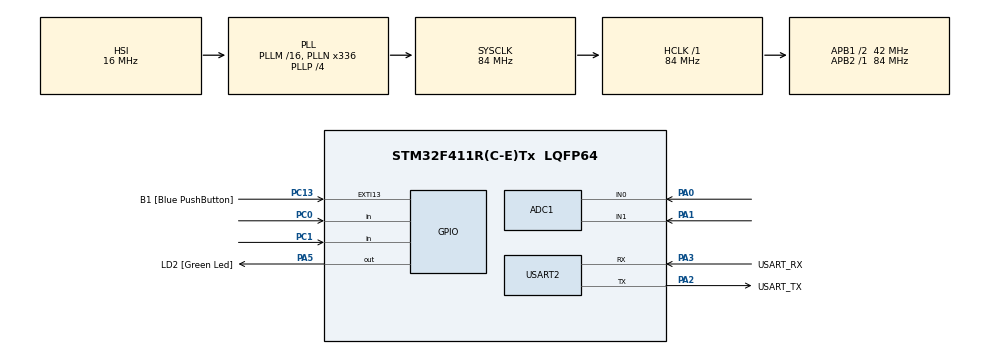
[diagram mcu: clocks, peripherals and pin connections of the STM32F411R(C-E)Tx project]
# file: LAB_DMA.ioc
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ADC1.Channel-1\#ChannelRegularConversion=ADC_CHANNEL_0
ADC1.Channel-2\#ChannelRegularConversion=ADC_CHANNEL_1
ADC1.ContinuousConvMode=ENABLE
ADC1.DMAContinuousRequests=ENABLE
ADC1.EOCSelection=ADC_EOC_SEQ_CONV
ADC1.NbrOfConversion=2
ADC1.NbrOfConversionFlag=1
ADC1.Rank-1\#ChannelRegularConversion=1
ADC1.Rank-2\#ChannelRegularConversion=2
ADC1.SamplingTime-1\#ChannelRegularConversion=ADC_SAMPLETIME_480CYCLES
ADC1.SamplingTime-2\#ChannelRegularConversion=ADC_SAMPLETIME_480CYCLES
ADC1.master=1
Dma.ADC1.0.Direction=DMA_PERIPH_TO_MEMORY
Dma.ADC1.0.FIFOMode=DMA_FIFOMODE_DISABLE
Dma.ADC1.0.Instance=DMA2_Stream0
Dma.ADC1.0.MemDataAlignment=DMA_MDATAALIGN_WORD
Dma.ADC1.0.MemInc=DMA_MINC_ENABLE
Dma.ADC1.0.Mode=DMA_CIRCULAR
Dma.ADC1.0.PeriphDataAlignment=DMA_PDATAALIGN_WORD
Dma.ADC1.0.PeriphInc=DMA_PINC_DISABLE
Dma.ADC1.0.Priority=DMA_PRIORITY_LOW
Dma.Request0=ADC1
Mcu.Family=STM32F4
Mcu.Name=STM32F411R(C-E)Tx
Mcu.Package=LQFP64
NVIC.ADC_IRQn=true\:0\:0\:false\:false\:true\:true\:true
NVIC.DMA2_Stream0_IRQn=true\:0\:0\:false\:false\:true\:false\:true
NVIC.EXTI15_10_IRQn=true\:0\:0\:false\:false\:true\:true\:true
NVIC.PriorityGroup=NVIC_PRIORITYGROUP_0
PA0-WKUP.Signal=ADCx_IN0
PA1.Signal=ADCx_IN1
PA13.GPIO_Label=TMS
PA13.Mode=Serial_Wire
PA13.Signal=SYS_JTMS-SWDIO
PA14.GPIO_Label=TCK
PA14.Mode=Serial_Wire
PA14.Signal=SYS_JTCK-SWCLK
PA2.GPIO_Label=USART_TX
PA2.Mode=Asynchronous
PA2.Signal=USART2_TX
PA3.GPIO_Label=USART_RX
PA3.Mode=Asynchronous
PA3.Signal=USART2_RX
PA5.GPIO_Label=LD2 [Green Led]
PA5.Signal=GPIO_Output
PB3.GPIO_Label=SWO
PB3.Signal=SYS_JTDO-SWO
PC0.Signal=GPIO_Input
PC1.Signal=GPIO_Input
PC13-ANTI_TAMP.GPIO_Label=B1 [Blue PushButton]
PC13-ANTI_TAMP.GPIO_ModeDefaultEXTI=GPIO_MODE_IT_RISING_FALLING
PC13-ANTI_TAMP.GPIO_PuPd=GPIO_PULLUP
PC13-ANTI_TAMP.Signal=GPXTI13
PC14-OSC32_IN.Mode=LSE-External-Oscillator
PC14-OSC32_IN.Signal=RCC_OSC32_IN
PC15-OSC32_OUT.Mode=LSE-External-Oscillator
PC15-OSC32_OUT.Signal=RCC_OSC32_OUT
PH0\ -\ OSC_IN.Mode=HSE-External-Clock-Source
PH0\ -\ OSC_IN.Signal=RCC_OSC_IN
PH1\ -\ OSC_OUT.Mode=HSE-External-Clock-Source
PH1\ -\ OSC_OUT.Signal=RCC_OSC_OUT
ProjectManager.HeapSize=0x200
ProjectManager.StackSize=0x400
ProjectManager.TargetToolchain=STM32CubeIDE
RCC.48MHZClocksFreq_Value=84000000
RCC.AHBFreq_Value=84000000
RCC.APB1CLKDivider=RCC_HCLK_DIV2
RCC.APB1Freq_Value=42000000
RCC.APB1TimFreq_Value=84000000
RCC.APB2Freq_Value=84000000
RCC.APB2TimFreq_Value=84000000
RCC.CortexFreq_Value=84000000
RCC.FLatency-AdvancedSettings=FLASH_LATENCY_2
RCC.HCLKFreq_Value=84000000
RCC.HSE_VALUE=8000000
RCC.HSI_VALUE=16000000
RCC.PLLN=336
RCC.PLLP=RCC_PLLP_DIV4
RCC.SYSCLKFreq_VALUE=84000000
RCC.SYSCLKSource=RCC_SYSCLKSOURCE_PLLCLK
RCC.VCOOutputFreq_Value=336000000
SH.ADCx_IN0.0=ADC1_IN0,IN0
SH.ADCx_IN1.0=ADC1_IN1,IN1
USART2.VirtualMode=VM_ASYNC
board=NUCLEO-F411RE

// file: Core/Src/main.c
/* USER CODE BEGIN Header */
/**
  ******************************************************************************
  * @file           : main.c
  * @brief          : Main program body
  ******************************************************************************
  * @attention
  *
  * <h2><center>&copy; Copyright (c) 2021 STMicroelectronics.
  * All rights reserved.</center></h2>
  *
  * This software component is licensed by ST under BSD 3-Clause license,
  * the "License"; You may not use this file except in compliance with the
  * License. You may obtain a copy of the License at:
  *                        opensource.org/licenses/BSD-3-Clause
  *
  ******************************************************************************
  */
/* USER CODE END Header */
#include "main.h"

ADC_HandleTypeDef hadc1;
DMA_HandleTypeDef hdma_adc1;

UART_HandleTypeDef huart2;

/* USER CODE BEGIN PV */
uint32_t state=0;
uint32_t random=0;
uint32_t timesave=0;
uint32_t delta=0;
uint32_t timestamp=0;
uint32_t ADCdata[2]={0};
uint32_t w=0;
/* USER CODE END PV */

void SystemClock_Config(void);
static void MX_GPIO_Init(void);
static void MX_DMA_Init(void);
static void MX_USART2_UART_Init(void);
static void MX_ADC1_Init(void);

int main(void)
{

  /* MCU Configuration--------------------------------------------------------*/

  /* Reset of all peripherals, Initializes the Flash interface and the Systick. */

	HAL_Init();

  /* Configure the system clock */
  SystemClock_Config();

  /* Initialize all configured peripherals */
  MX_GPIO_Init();
  MX_DMA_Init();
  MX_USART2_UART_Init();
  MX_ADC1_Init();
  /* USER CODE BEGIN 2 */
  HAL_ADC_Start_DMA(&hadc1, ADCdata, 2);
  HAL_GPIO_WritePin(GPIOA, GPIO_PIN_5, 1);
  /* USER CODE END 2 */

  /* Infinite loop */
  /* USER CODE BEGIN WHILE */
  while (1)
  {
//	 switch(state){
//	 	case 0:
//	 		HAL_GPIO_WritePin(GPIOA, GPIO_PIN_5, 1);
//	 		timestamp=0;
//	 		w=0;
//	 	break;
//	 	case 1:
//	 	if(HAL_GetTick()>=timestamp){
//			HAL_GPIO_WritePin(GPIOA, GPIO_PIN_5, 1);
//			timesave=HAL_GetTick();
//			state=0;
//	 	}
//	 	break;
//	 }

		if(HAL_GetTick()>=timestamp){
			HAL_GPIO_WritePin(GPIOA, GPIO_PIN_5, 1);
		}

    /* USER CODE END WHILE */

  }
}

void SystemClock_Config(void)
{
  RCC_OscInitTypeDef RCC_OscInitStruct = {0};
  RCC_ClkInitTypeDef RCC_ClkInitStruct = {0};

  /** Configure the main internal regulator output voltage
  */
  __HAL_RCC_PWR_CLK_ENABLE();
  __HAL_PWR_VOLTAGESCALING_CONFIG(PWR_REGULATOR_VOLTAGE_SCALE1);
  /** Initializes the RCC Oscillators according to the specified parameters
  * in the RCC_OscInitTypeDef structure.
  */
  RCC_OscInitStruct.OscillatorType = RCC_OSCILLATORTYPE_HSI;
  RCC_OscInitStruct.HSIState = RCC_HSI_ON;
  RCC_OscInitStruct.HSICalibrationValue = RCC_HSICALIBRATION_DEFAULT;
  RCC_OscInitStruct.PLL.PLLState = RCC_PLL_ON;
  RCC_OscInitStruct.PLL.PLLSource = RCC_PLLSOURCE_HSI;
  RCC_OscInitStruct.PLL.PLLM = 16;
  RCC_OscInitStruct.PLL.PLLN = 336;
  RCC_OscInitStruct.PLL.PLLP = RCC_PLLP_DIV4;
  RCC_OscInitStruct.PLL.PLLQ = 4;
  if (HAL_RCC_OscConfig(&RCC_OscInitStruct) != HAL_OK)
  {
    Error_Handler();
  }
  /** Initializes the CPU, AHB and APB buses clocks
  */
  RCC_ClkInitStruct.ClockType = RCC_CLOCKTYPE_HCLK|RCC_CLOCKTYPE_SYSCLK
                              |RCC_CLOCKTYPE_PCLK1|RCC_CLOCKTYPE_PCLK2;
  RCC_ClkInitStruct.SYSCLKSource = RCC_SYSCLKSOURCE_PLLCLK;
  RCC_ClkInitStruct.AHBCLKDivider = RCC_SYSCLK_DIV1;
  RCC_ClkInitStruct.APB1CLKDivider = RCC_HCLK_DIV2;
  RCC_ClkInitStruct.APB2CLKDivider = RCC_HCLK_DIV1;

  if (HAL_RCC_ClockConfig(&RCC_ClkInitStruct, FLASH_LATENCY_2) != HAL_OK)
  {
    Error_Handler();
  }
}

static void MX_ADC1_Init(void)
{

  ADC_ChannelConfTypeDef sConfig = {0};

  /** Configure the global features of the ADC (Clock, Resolution, Data Alignment and number of conversion)
  */
  hadc1.Instance = ADC1;
  hadc1.Init.ClockPrescaler = ADC_CLOCK_SYNC_PCLK_DIV4;
  hadc1.Init.Resolution = ADC_RESOLUTION_12B;
  hadc1.Init.ScanConvMode = ENABLE;
  hadc1.Init.ContinuousConvMode = ENABLE;
  hadc1.Init.DiscontinuousConvMode = DISABLE;
  hadc1.Init.ExternalTrigConvEdge = ADC_EXTERNALTRIGCONVEDGE_NONE;
  hadc1.Init.ExternalTrigConv = ADC_SOFTWARE_START;
  hadc1.Init.DataAlign = ADC_DATAALIGN_RIGHT;
  hadc1.Init.NbrOfConversion = 2;
  hadc1.Init.DMAContinuousRequests = ENABLE;
  hadc1.Init.EOCSelection = ADC_EOC_SEQ_CONV;
  if (HAL_ADC_Init(&hadc1) != HAL_OK)
  {
    Error_Handler();
  }
  /** Configure for the selected ADC regular channel its corresponding rank in the sequencer and its sample time.
  */
  sConfig.Channel = ADC_CHANNEL_0;
  sConfig.Rank = 1;
  sConfig.SamplingTime = ADC_SAMPLETIME_480CYCLES;
  if (HAL_ADC_ConfigChannel(&hadc1, &sConfig) != HAL_OK)
  {
    Error_Handler();
  }
  /** Configure for the selected ADC regular channel its corresponding rank in the sequencer and its sample time.
  */
  sConfig.Channel = ADC_CHANNEL_1;
  sConfig.Rank = 2;
  if (HAL_ADC_ConfigChannel(&hadc1, &sConfig) != HAL_OK)
  {
    Error_Handler();
  }

}

static void MX_USART2_UART_Init(void)
{

  huart2.Instance = USART2;
  huart2.Init.BaudRate = 115200;
  huart2.Init.WordLength = UART_WORDLENGTH_8B;
  huart2.Init.StopBits = UART_STOPBITS_1;
  huart2.Init.Parity = UART_PARITY_NONE;
  huart2.Init.Mode = UART_MODE_TX_RX;
  huart2.Init.HwFlowCtl = UART_HWCONTROL_NONE;
  huart2.Init.OverSampling = UART_OVERSAMPLING_16;
  if (HAL_UART_Init(&huart2) != HAL_OK)
  {
    Error_Handler();
  }

}

static void MX_DMA_Init(void)
{

  /* DMA controller clock enable */
  __HAL_RCC_DMA2_CLK_ENABLE();

  /* DMA interrupt init */
  /* DMA2_Stream0_IRQn interrupt configuration */
  HAL_NVIC_SetPriority(DMA2_Stream0_IRQn, 0, 0);
  HAL_NVIC_EnableIRQ(DMA2_Stream0_IRQn);

}

static void MX_GPIO_Init(void)
{
  GPIO_InitTypeDef GPIO_InitStruct = {0};

  /* GPIO Ports Clock Enable */
  __HAL_RCC_GPIOC_CLK_ENABLE();
  __HAL_RCC_GPIOH_CLK_ENABLE();
  __HAL_RCC_GPIOA_CLK_ENABLE();
  __HAL_RCC_GPIOB_CLK_ENABLE();

  /*Configure GPIO pin Output Level */
  HAL_GPIO_WritePin(LD2_GPIO_Port, LD2_Pin, GPIO_PIN_RESET);

  /*Configure GPIO pin : B1_Pin */
  GPIO_InitStruct.Pin = B1_Pin;
  GPIO_InitStruct.Mode = GPIO_MODE_IT_RISING_FALLING;
  GPIO_InitStruct.Pull = GPIO_PULLUP;
  HAL_GPIO_Init(B1_GPIO_Port, &GPIO_InitStruct);

  /*Configure GPIO pins : PC0 PC1 */
  GPIO_InitStruct.Pin = GPIO_PIN_0|GPIO_PIN_1;
  GPIO_InitStruct.Mode = GPIO_MODE_INPUT;
  GPIO_InitStruct.Pull = GPIO_NOPULL;
  HAL_GPIO_Init(GPIOC, &GPIO_InitStruct);

  /*Configure GPIO pin : LD2_Pin */
  GPIO_InitStruct.Pin = LD2_Pin;
  GPIO_InitStruct.Mode = GPIO_MODE_OUTPUT_PP;
  GPIO_InitStruct.Pull = GPIO_NOPULL;
  GPIO_InitStruct.Speed = GPIO_SPEED_FREQ_LOW;
  HAL_GPIO_Init(LD2_GPIO_Port, &GPIO_InitStruct);

  /* EXTI interrupt init*/
  HAL_NVIC_SetPriority(EXTI15_10_IRQn, 0, 0);
  HAL_NVIC_EnableIRQ(EXTI15_10_IRQn);

}

/* USER CODE BEGIN 4 */

void HAL_GPIO_EXTI_Callback(uint16_t GPIO_Pin){

	if(GPIO_Pin==GPIO_PIN_13 && HAL_GPIO_ReadPin(GPIOC, GPIO_PIN_13)==0){
		HAL_GPIO_WritePin(GPIOA, GPIO_PIN_5, 0);
		w=1000+((22695477*ADCdata[0])+ADCdata[1])%10000;
		timestamp=HAL_GetTick()+w;
		timesave=HAL_GetTick();
		state=1;
	}
	else if (GPIO_Pin==GPIO_PIN_13 && HAL_GPIO_ReadPin(GPIOC, GPIO_PIN_13)==1){
		HAL_GPIO_WritePin(GPIOA, GPIO_PIN_5, 1);
//		delta=HAL_GetTick()-timesave;

		delta=HAL_GetTick()-timestamp;

	}
}
/* USER CODE END 4 */

void Error_Handler(void)
{
   __disable_irq();
  while (1)
  {
  }
}

/************************ (C) COPYRIGHT STMicroelectronics *****END OF FILE****/
